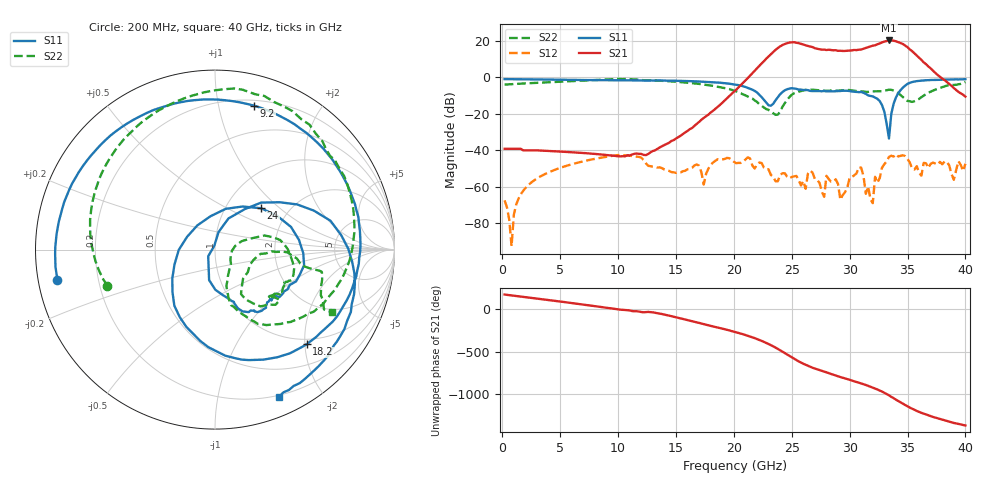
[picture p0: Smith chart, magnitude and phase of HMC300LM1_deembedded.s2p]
!Hittite Microwave Corporation
!12 Elizabeth Drive
!Chelmsford, MA 01824
!Tel: 978-250-3343
!Fax: 978-250-3373
!Device: HMC300LM1, 25.5-33.5 GHz SMT Medium Power GaAs MMIC Amplifier in Leadless Chip Carrier Package
!Misc: Vdd=+6V, Room
# MHZ S MA R 50
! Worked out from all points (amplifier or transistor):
!   200 points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, 200 MHz to 40 GHz, reference 50 ohm
!   highest |S21| = 20.2 dB at 33.4 GHz (marker M1)
!   |S21| within 3 dB of that: 31.93 GHz to 34.83 GHz (2.905 GHz wide, 8.7 % of centre) (the widest 1 of 2)
!   unconditionally stable (mu >= 1): start of sweep to end of sweep
!   at 6.8 GHz: K = 1213.65, MAG = -31.4 dB, |S12| = -46.3 dB
!   at 20.2 GHz: K = 123.79, MAG = -3.8 dB, |S12| = -47.1 dB
!   at 40 GHz: K = 35.30, MAG = -0.1 dB, |S12| = -47.4 dB
!   S11 on the Smith chart (normalised r, x): 200 MHz: 0.06, -0.10; 9.2 GHz: 0.25, +1.28; 18.2 GHz: 0.89, -2.04; 24 GHz: 1.45, +0.76; 40 GHz: 0.18, -1.51
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200  0.894 -169.1  0.011 175.5  0.0004244 77.2  0.633 -161.4
7000  0.845 105.7  0.008445 56.9  0.005005 73.8  0.814 121.9
9200  0.831 74.7  0.007348 15.7  0.006825 11.6  0.879 93.6
13600  0.819 12.7  0.012 -49.6  0.003423 -50.9  0.809 19.6
18200  0.734 -46.0  0.121 158.6  0.004612 -7.8  0.584 -43.7
20200  0.63 -76.5  0.457 89.6  0.00443 -72.5  0.413 -64.9
22000  0.386 -125.9  1.788 10.6  0.004119 -102.9  0.212 -72.7
23000  0.171 155.2  3.743 -48.7  0.003013 -178.2  0.128 -47.6
24000  0.345 41.9  7.063 -122.8  0.00211 4.8  0.115 10.6
24800  0.492 -2.3  9.002 170.2  0.001706 -47.1  0.287 15.9
25600  0.461 -25.3  8.678 106.0  0.00154 -92.2  0.406 0.2
26800  0.42 -37.6  6.728 31.0  0.002443 -91.7  0.459 -21.7
29200  0.422 -47.8  5.351 -77.8  0.000443 -154.3  0.434 -29.1
30400  0.403 -57.2  5.629 -130.1  0.00207 15.0  0.428 -35.1
31800  0.309 -70.2  7.038 167.4  0.0004565 61.2  0.411 -38.0
32600  0.224 -89.5  8.497 122.4  0.001737 131.0  0.415 -41.4
33400  0.021 101.4  10.26 65.5  0.006564 58.5  0.458 -38.1
34000  0.281 53.6  9.745 14.2  0.007777 12.8  0.405 -51.4
34600  0.522 28.8  8.184 -33.9  0.00732 -18.7  0.287 -59.7
35000  0.663 14.0  6.706 -64.6  0.005777 -51.8  0.225 -45.9
36200  0.814 -17.9  3.009 -141.4  0.002017 -36.4  0.286 -4.3
40000  0.894 -66.6  0.297 69.6  0.004268 158.1  0.74 -28.2
